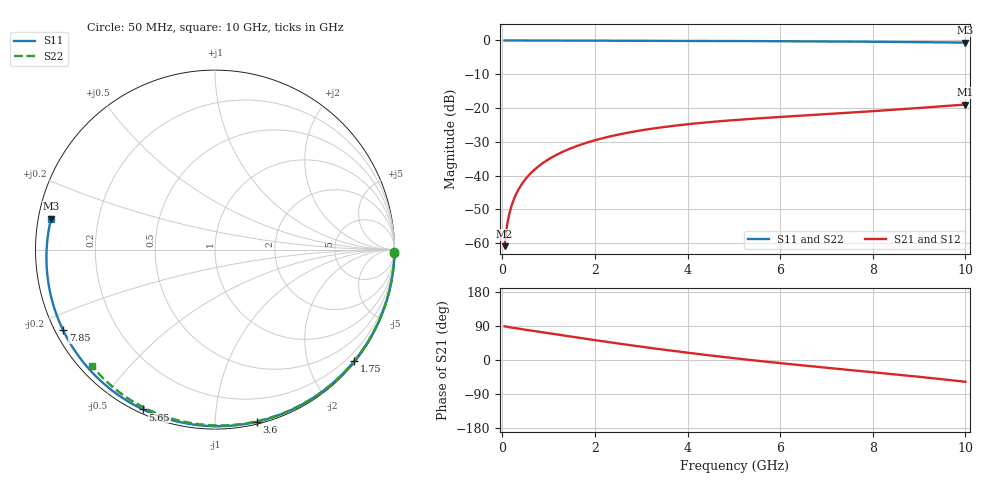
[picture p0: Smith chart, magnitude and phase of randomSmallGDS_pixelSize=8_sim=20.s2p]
! freq	dB(S11)	phase(S11)	dB(S12)	phase(S12)
!  dB(S21)	phase(S21)	dB(S22)	phase(S22)
!S-par simulation data
#  GHz  S  DB  R 50
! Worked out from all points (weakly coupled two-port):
!   200 points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, 50 MHz to 10 GHz, reference 50 ohm
!   highest |S21| = -18.95 dB at 10 GHz (marker M1); lowest = -60.9 dB at 50 MHz (marker M2)
!   lowest |S11| = -0.6 dB at 10 GHz (marker M3), VSWR 27.35, Z = 1.84 + j4.69 ohm
!   |S11| at or under -10 dB: nowhere
!   |S22| runs from -0.5 to 0.0 dB; largest |S21 - S12| = 0
!   S11 on the Smith chart (normalised r, x): 50 MHz: open; 1.75 GHz: 0.03, -2.85; 3.6 GHz: 0.02, -1.27; 5.65 GHz: 0.02, -0.65; 7.85 GHz: 0.02, -0.25; 10 GHz: 0.04, +0.09
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0.05  -0.00 -1.1  -60.85 88.8  -60.85 88.8  -0.00 -0.8
0.1  -0.00 -2.3  -54.85 87.7  -54.85 87.7  -0.00 -1.6
0.15  -0.00 -3.4  -51.35 86.6  -51.35 86.6  -0.00 -2.4
0.2  -0.00 -4.5  -48.87 85.6  -48.87 85.6  -0.00 -3.2
0.25  -0.00 -5.6  -46.96 84.6  -46.96 84.6  -0.00 -4.0
0.35  -0.01 -7.9  -44.08 82.7  -44.08 82.7  -0.00 -5.6
0.5  -0.01 -11.2  -41.03 79.9  -41.03 79.9  -0.01 -8.0
0.7  -0.02 -15.7  -38.16 76.2  -38.16 76.2  -0.01 -11.2
1  -0.03 -22.3  -35.15 70.6  -35.15 70.6  -0.02 -15.9
1.35  -0.04 -30.0  -32.66 64.1  -32.66 64.1  -0.03 -21.4
1.75  -0.05 -38.6  -30.57 56.8  -30.57 56.8  -0.04 -27.7
2.6  -0.08 -56.4  -27.58 41.9  -27.58 41.9  -0.06 -40.6
3.4  -0.11 -72.5  -25.77 28.6  -25.77 28.6  -0.08 -52.5
3.6  -0.11 -76.4  -25.41 25.4  -25.41 25.4  -0.09 -55.4
4.3  -0.14 -89.8  -24.37 14.8  -24.37 14.8  -0.11 -65.3
5.05  -0.17 -103.5  -23.51 4.1  -23.51 4.1  -0.13 -75.7
5.65  -0.20 -114.2  -22.94 -3.8  -22.94 -3.8  -0.16 -83.7
6.7  -0.27 -132.4  -22.04 -16.8  -22.04 -16.8  -0.21 -97.1
7.85  -0.37 -152.1  -21.06 -30.4  -21.06 -30.4  -0.29 -111.2
8.35  -0.42 -160.7  -20.60 -36.3  -20.60 -36.3  -0.33 -117.2
9.2  -0.52 -175.8  -19.77 -46.9  -19.77 -46.9  -0.41 -127.2
10  -0.64 169.3  -18.95 -57.5  -18.95 -57.5  -0.51 -136.5
